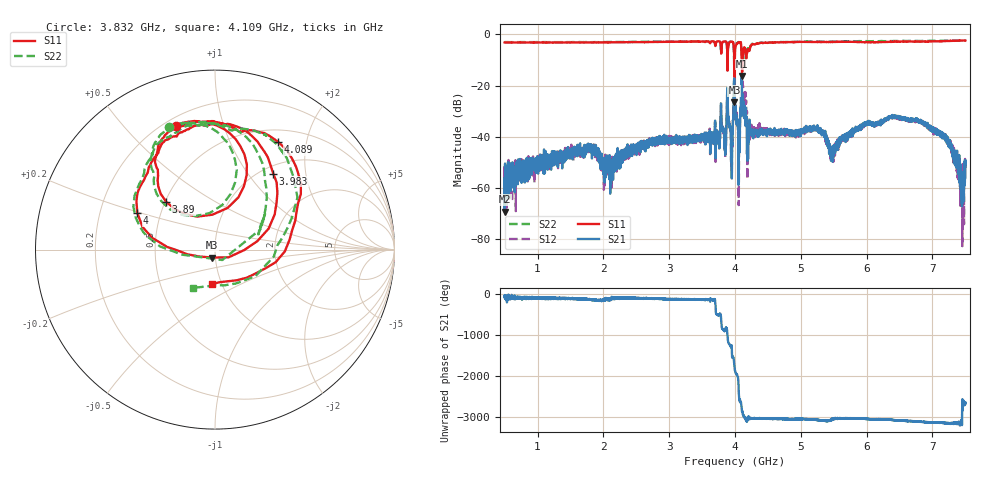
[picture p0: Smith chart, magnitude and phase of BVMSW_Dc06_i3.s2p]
!Keysight Technologies,M9374A,MY55442783,A.12.55.05
!Date: Friday, May 21, 2021 09:48:35
!Correction: S11(Full 2 Port(1,2))
!S21(Full 2 Port(1,2))
!S12(Full 2 Port(1,2))
!S22(Full 2 Port(1,2))
!S2P File: Measurements: S11, S21, S12, S22:
# Hz S  RI  R 50
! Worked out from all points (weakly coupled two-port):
!   7001 points, 500 MHz to 7.5 GHz, reference 50 ohm
!   highest |S21| = -16.26 dB at 4.099 GHz (marker M1); lowest = -69.2 dB at 501 MHz (marker M2)
!   lowest |S11| = -26.6 dB at 3.992 GHz (marker M3), VSWR 1.10, Z = 48.2 - j4.25 ohm
!   |S11| at or under -10 dB: 3.884038 GHz to 3.888915 GHz (4.877 MHz wide, 0.125 % of centre); 3.988048 GHz to 3.996976 GHz (8.928 MHz wide, 0.224 % of centre); 4.102632 GHz to 4.1148 GHz (12.17 MHz wide, 0.296 % of centre)
!   |S22| runs from -23.0 to -2.4 dB; largest |S21 - S12| = 0.13
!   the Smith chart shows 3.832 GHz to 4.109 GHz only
!   S11 on the Smith chart (normalised r, x): 3.832 GHz: 0.25, +0.70; 3.89 GHz: 0.51, +0.32; 3.983 GHz: 1.12, +1.33; 4 GHz: 0.37, +0.19; 4.089 GHz: 0.66, +1.54; 4.109 GHz: 0.90, -0.36
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5e8  -0.6852 0.1065  0.000657 -0.00137  -0.000403 -0.0017  -0.6979 0.1001
5.01e8  -0.6837 0.1064  0.000282 -0.0002  -0.000422 -0.00251  -0.6981 0.1012
1.667e9  -0.61 0.3311  -0.0036 -0.00411  -0.00249 -0.00457  -0.6289 0.3175
2.136e9  -0.5638 0.4145  -0.00139 -0.00207  -0.00111 -0.00245  -0.588 0.3934
2.834e9  -0.4785 0.5267  -0.0043 -0.00701  -0.00491 -0.00691  -0.5071 0.512
3.832e9  -0.2181 0.6874  -0.0128 -0.00199  -0.0111 -0.000324  -0.2572 0.682
3.89e9  -0.2721 0.2666  0.0386 -0.0209  0.0363 -0.0171  -0.3389 0.352
3.938e9  -0.1711 0.6926  -0.00746 0.00693  -0.004 0.00584  -0.2049 0.6915
3.983e9  0.3247 0.4239  -0.1019 0.00793  -0.1009 0.00556  0.286 0.3417
3.992e9  -0.0164 -0.044  0.1005 0.0423  0.0994 0.0365  -0.182 -0.0284
4e9  -0.433 0.2041  0.0112 -0.0325  0.0137 -0.034  -0.4481 0.2998
4.043e9  -0.2034 0.6464  -0.0131 0.0112  -0.0143 0.0131  -0.2474 0.632
4.089e9  0.3531 0.5995  -0.0135 -0.0399  -0.0134 -0.0365  0.3931 0.5203
4.099e9  0.43 0.1081  -0.1026 0.1145  -0.1122 0.1326  0.3488 0.0258
4.109e9  -0.0181 -0.192  0.0338 0.0175  0.0981 0.0472  -0.1235 -0.2132
4.22e9  -0.363 0.316  -0.0192 -0.00928  -0.00761 -0.00709  -0.4178 0.294
5.167e9  -0.175 0.6917  -0.0143 -0.000279  -0.0152 -0.000209  -0.247 0.6767
5.476e9  -0.1232 0.6961  -0.00596 0.000252  -0.00469 -0.000857  -0.2069 0.6925
6.334e9  -0.00746 0.7132  -0.0238 -0.000733  -0.0238 -0.00137  -0.0818 0.7369
7.178e9  0.0922 0.7315  -0.0017 0.0092  -0.00233 0.0102  0.0375 0.7512
7.444e9  0.1322 0.7434  -0.000538 0.000828  0.000138 0.00105  0.0672 0.7503
7.5e9  0.1424 0.7425  -0.00188 -0.00224  -0.00246 0.000107  0.075 0.7498
